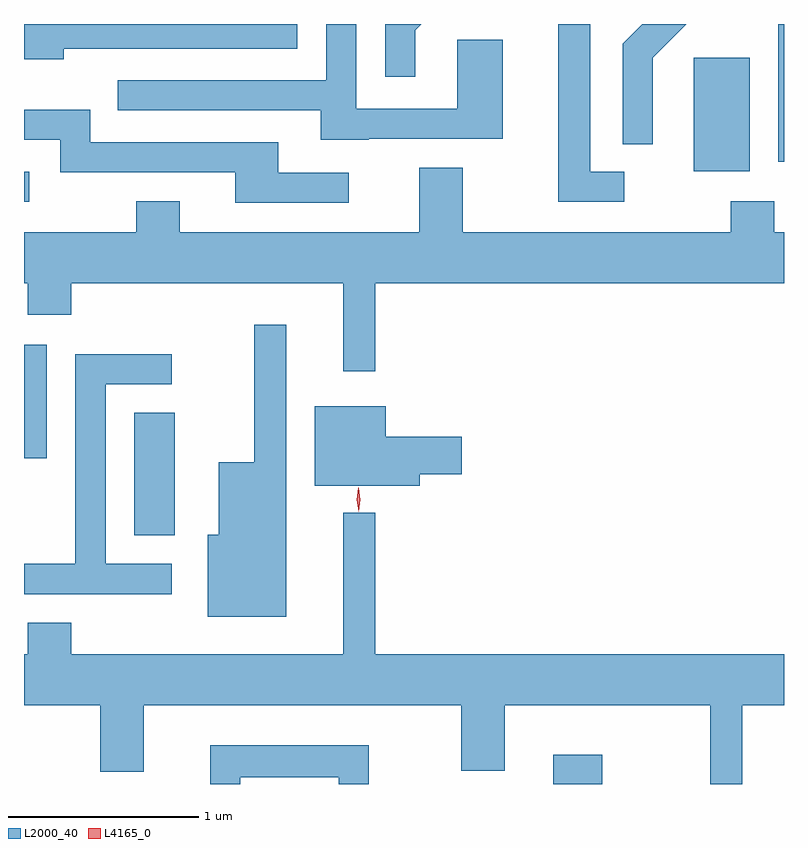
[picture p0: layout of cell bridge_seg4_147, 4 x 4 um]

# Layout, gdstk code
import gdstk
lib = gdstk.Library(unit=1e-6, precision=1e-09)
def R(c, l, rs):  # rectangles x0, y0, x1, y1
    for r in rs: c.add(gdstk.rectangle(r[:2], r[2:], *l))
def P(c, l, *ps):  # polygons
    for p in ps: c.add(gdstk.Polygon(p, *l))
L2000_40 = (2000, 40)
L4165_0 = (4165, 0)

bridge_seg4_147 = lib.new_cell('bridge_seg4_147')
R(bridge_seg4_147, L2000_40, [(912.346,1300.981,912.604,1301.134), (910.141,1302.291,910.354,1302.934), (909.56,1302.696,909.679,1303.294), (909.56,1304.046,909.588,1304.204), (913.086,1304.206,913.379,1304.804), (913.531,1304.256,913.56,1304.981)])
P(bridge_seg4_147, L2000_40, [(911.375,1304.376),(912.079,1304.376),(912.079,1304.899),(911.841,1304.899),(911.841,1304.534),(911.309,1304.534),(911.309,1304.981),(911.151,1304.981),(911.151,1304.684),(910.053,1304.684),(910.053,1304.526),(911.121,1304.526),(911.121,1304.371),(911.375,1304.371)],
  [(912.869,1304.804),(913.046,1304.981),(912.815,1304.981),(912.711,1304.877),(912.711,1304.348),(912.869,1304.348)],
  [(909.769,1304.851),(910.999,1304.851),(910.999,1304.981),(909.56,1304.981),(909.56,1304.796),(909.769,1304.796)],
  [(912.718,1304.204),(912.539,1304.204),(912.539,1304.981),(912.371,1304.981),(912.371,1304.046),(912.718,1304.046)],
  [(911.619,1304.949),(911.651,1304.981),(911.461,1304.981),(911.461,1304.703),(911.619,1304.703)],
  [(911.268,1304.199),(910.899,1304.199),(910.899,1304.359),(909.909,1304.359),(909.909,1304.529),(909.56,1304.529),(909.56,1304.371),(909.751,1304.371),(909.751,1304.201),(910.671,1304.201),(910.671,1304.041),(911.268,1304.041)],
  [(911.409,1303.616),(913.56,1303.616),(913.56,1303.884),(913.509,1303.884),(913.509,1304.049),(913.281,1304.049),(913.281,1303.884),(911.869,1303.884),(911.869,1304.224),(911.641,1304.224),(911.641,1303.884),(910.379,1303.884),(910.379,1304.049),(910.151,1304.049),(910.151,1303.884),(909.56,1303.884),(909.56,1303.616),(909.581,1303.616),(909.581,1303.451),(909.809,1303.451),(909.809,1303.616),(911.241,1303.616),(911.241,1303.153),(911.409,1303.153)],
  [(910.939,1303.398),(910.771,1303.398),(910.771,1302.674),(910.586,1302.674),(910.586,1302.294),(910.526,1302.294),(910.526,1301.861),(910.939,1301.861)],
  [(910.338,1302.139),(909.989,1302.139),(909.989,1303.086),(910.338,1303.086),(910.338,1303.244),(909.831,1303.244),(909.831,1302.139),(909.56,1302.139),(909.56,1301.981),(910.338,1301.981)],
  [(911.644,1302.611),(911.864,1302.611),(911.864,1302.809),(911.464,1302.809),(911.464,1302.969),(911.091,1302.969),(911.091,1302.551),(911.644,1302.551)],
  [(913.339,1301.396),(913.56,1301.396),(913.56,1301.664),(911.409,1301.664),(911.409,1302.408),(911.241,1302.408),(911.241,1301.664),(909.809,1301.664),(909.809,1301.829),(909.581,1301.829),(909.581,1301.664),(909.56,1301.664),(909.56,1301.396),(909.961,1301.396),(909.961,1301.046),(910.189,1301.046),(910.189,1301.396),(911.861,1301.396),(911.861,1301.051),(912.089,1301.051),(912.089,1301.396),(913.171,1301.396),(913.171,1300.981),(913.339,1300.981)],
  [(910.699,1301.016),(911.216,1301.016),(911.216,1300.981),(911.374,1300.981),(911.374,1301.184),(910.541,1301.184),(910.541,1300.981),(910.699,1300.981)])
P(bridge_seg4_147, L4165_0, [(911.322,1302.413),(911.321,1302.414),(911.311,1302.476),(911.32,1302.54),(911.321,1302.54),(911.321,1302.54),(911.331,1302.476),(911.322,1302.414)])

lib.write_gds('bridge_seg4_147.gds')
